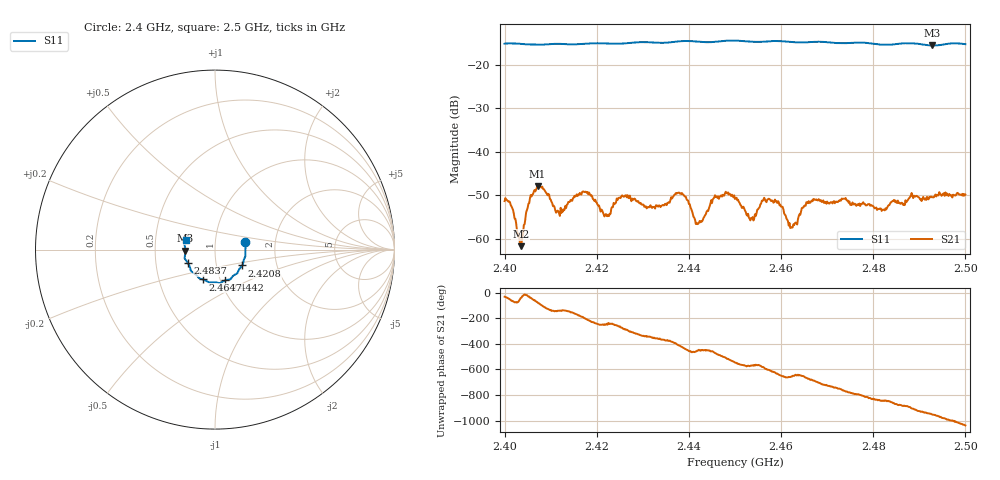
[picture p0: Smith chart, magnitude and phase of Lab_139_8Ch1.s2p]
# Hz S RI R 50
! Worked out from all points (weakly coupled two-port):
!   601 points, 2.4 GHz to 2.5 GHz, reference 50 ohm
!   highest |S21| = -47.98 dB at 2.4072 GHz (marker M1); lowest = -61.8 dB at 2.4035 GHz (marker M2)
!   lowest |S11| = -15.6 dB at 2.4928 GHz (marker M3), VSWR 1.40, Z = 35.8 - j0.389 ohm
!   |S11| at or under -10 dB: start of sweep to end of sweep
!   S12 and S22 are empty: the file has one direction only
!   S11 on the Smith chart (normalised r, x): 2.4 GHz: 1.40, +0.12; 2.4208 GHz: 1.33, -0.24; 2.4442 GHz: 1.05, -0.37; 2.4647 GHz: 0.83, -0.29; 2.4837 GHz: 0.73, -0.11; 2.5 GHz: 0.72, +0.08
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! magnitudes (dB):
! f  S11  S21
! 2.4 GHz  -15.2  -51.4
! 2.4035 GHz  -15.3  -61.8
! 2.4052 GHz  -15.4  -52.0
! 2.4072 GHz  -15.4  -48.0
! 2.4115 GHz  -15.2  -53.6
! 2.4167 GHz  -15.3  -49.9
! 2.4208 GHz  -15.1  -53.8
! 2.4258 GHz  -15.2  -50.4
! 2.4333 GHz  -15.0  -52.7
! 2.4383 GHz  -14.6  -49.7
! 2.442 GHz  -14.7  -56.6
! 2.4442 GHz  -14.9  -53.7
! 2.45 GHz  -14.5  -50.9
! 2.4537 GHz  -14.8  -55.3
! 2.459 GHz  -14.6  -51.4
! 2.4622 GHz  -14.8  -57.5
! 2.4647 GHz  -14.9  -52.9
! 2.4667 GHz  -14.8  -51.2
! 2.4833 GHz  -15.5  -52.4
! 2.4837 GHz  -15.4  -52.0
! 2.4928 GHz  -15.6  -50.5
! 2.5 GHz  -15.3  -49.9
